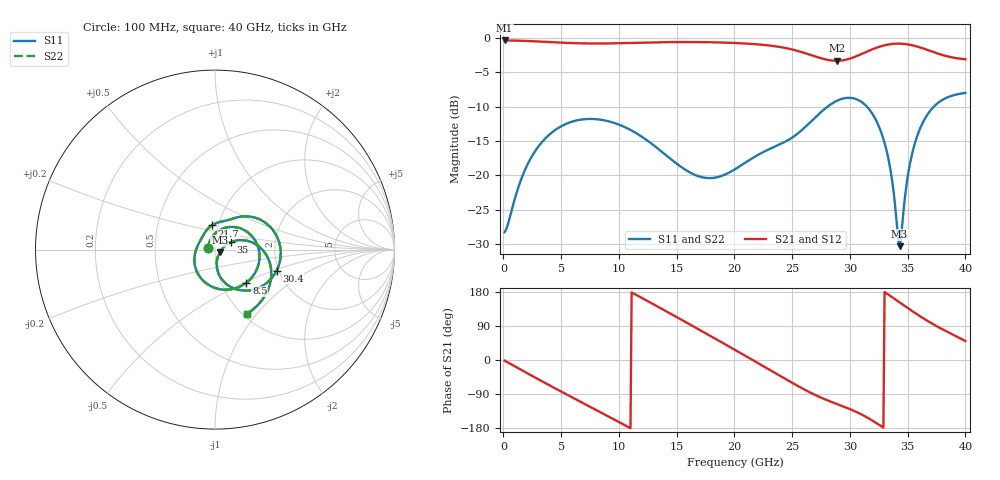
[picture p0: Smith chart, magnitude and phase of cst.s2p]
! P_ts6_finger_far: gold finger 0.7 × 2.1 mm between GND fingers (gap 0.3 mm), L2 cut back (next plane L5)
! stackup: ThunderScope Rev5.3 6-layer (FR408HR / FR-4, from the board file)
! ports: 1, 2
! CST Studio Suite 2025.5 Release from 2025-05-30, time domain (FIT, hexahedral, PBA), 158340 mesh cells, 33 s
! mesh: {'lpw': 20, 'lpb': 20, 'minstep': 0.0, 'ratio': 20}; ports: port 1 (face); port 2 (face)
! interpolated from CST's 1001 samples to the case grid
# Hz S RI R 50
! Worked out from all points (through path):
!   400 points, 100 MHz to 40 GHz, reference 50 ohm
!   highest |S21| = -0.34 dB at 100 MHz (marker M1); lowest = -3.3 dB at 28.9 GHz (marker M2)
!   group delay of S21, straight-line fit = 46.3 ps
!   lowest |S11| = -30.3 dB at 34.3 GHz (marker M3), VSWR 1.06, Z = 52.7 - j1.61 ohm
!   |S11| at or under -10 dB: start of sweep to 28.04 GHz; 31.49 GHz to 37.25 GHz (5.768 GHz wide, 16.8 % of centre)
!   |S22| runs from -30.3 to -8.0 dB; largest |S21 - S12| = 3.2e-07
!   S11 on the Smith chart (normalised r, x): 100 MHz: 0.93, +0.01; 8.5 GHz: 1.31, -0.52; 21.7 GHz: 0.93, +0.26; 30.4 GHz: 1.95, -0.53; 35 GHz: 1.19, +0.10; 40 GHz: 1.04, -0.89
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1e8  -0.038 0.0069  0.9614 -0.0285  0.9614 -0.0285  -0.038 0.0069
1.8e9  0.0195 0.105  0.8231 -0.4849  0.8231 -0.4849  0.0195 0.105
3.6e9  0.1428 0.1178  0.4628 -0.8179  0.4628 -0.8179  0.1428 0.1178
6.8e9  0.2435 -0.0781  -0.3471 -0.8478  -0.3471 -0.8478  0.2435 -0.0781
8.5e9  0.1746 -0.1846  -0.6948 -0.5938  -0.6948 -0.5938  0.1746 -0.1846
1.1e10  0.003 -0.2146  -0.9221 -0.00025  -0.9221 -0.00025  0.003 -0.2146
1.34e10  -0.1033 -0.1172  -0.7165 0.5972  -0.7165 0.5972  -0.1033 -0.1172
1.51e10  -0.1139 -0.038  -0.3436 0.8709  -0.3436 0.8709  -0.1139 -0.038
1.67e10  -0.0987 0.0162  0.0924 0.9314  0.0924 0.9314  -0.0987 0.0162
1.83e10  -0.0791 0.0551  0.5088 0.7808  0.5088 0.7808  -0.0791 0.0551
2.01e10  -0.0549 0.0973  0.8295 0.4008  0.8295 0.4008  -0.0549 0.0973
2.17e10  -0.0174 0.1348  0.9044 -0.0334  0.9044 -0.0334  -0.0174 0.1348
2.44e10  0.0673 0.1628  0.548 -0.6474  0.548 -0.6474  0.0673 0.1628
2.67e10  0.1679 0.1856  0.0267 -0.7491  0.0267 -0.7491  0.1679 0.1856
2.89e10  0.3416 0.0791  -0.3041 -0.6126  -0.3041 -0.6126  0.3416 0.0791
3.04e10  0.3436 -0.1168  -0.5136 -0.5176  -0.5136 -0.5176  0.3436 -0.1168
3.22e10  0.1294 -0.2238  -0.8149 -0.2247  -0.8149 -0.2247  0.1294 -0.2238
3.34e10  0.0158 -0.1228  -0.8903 0.1376  -0.8903 0.1376  0.0158 -0.1228
3.43e10  0.0265 -0.0153  -0.8057 0.4269  -0.8057 0.4269  0.0265 -0.0153
3.5e10  0.0885 0.0408  -0.6611 0.6114  -0.6611 0.6114  0.0885 0.0408
3.68e10  0.2832 -0.0261  -0.1657 0.799  -0.1657 0.799  0.2832 -0.0261
4e10  0.1768 -0.3579  0.4502 0.5385  0.4502 0.5385  0.1768 -0.3579
